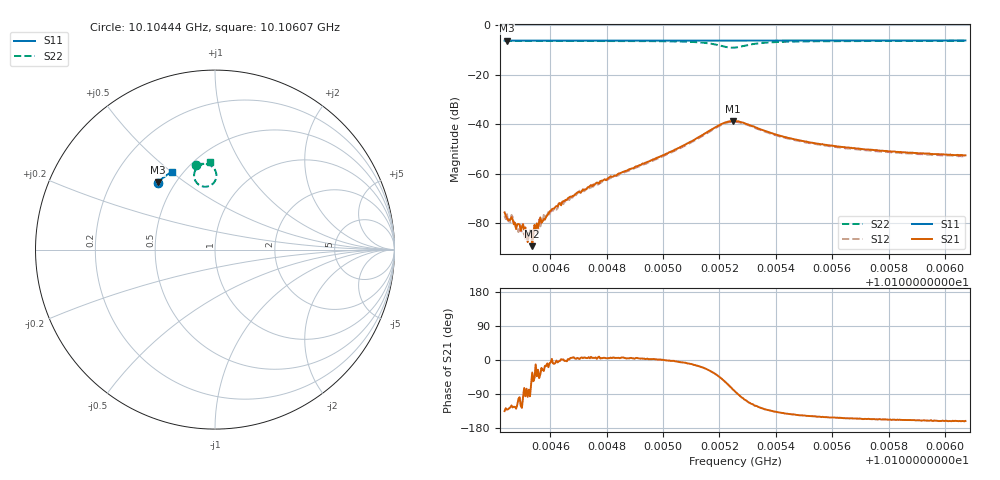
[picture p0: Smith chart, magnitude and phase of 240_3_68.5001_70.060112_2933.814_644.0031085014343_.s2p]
#  HZ  S  RI  R  50.00
! Rohde & Schwarz Vector Network Analyzer
! Rohde-Schwarz,ZNB20-2Port,1311601062101988,3.16
! Created: UTC 3/20/2024, 5:14:26 PM
! freq[Hz]  re:S11  im:S11  re:S21  im:S21  re:S12  im:S12  re:S22  im:S22
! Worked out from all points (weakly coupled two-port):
!   401 points, 10.10444 GHz to 10.10607 GHz, reference 50 ohm
!   highest |S21| = -38.69 dB at 10.10525 GHz (marker M1); lowest = -89.4 dB at 10.10454 GHz (marker M2)
!   lowest |S11| = -6.2 dB at 10.10445 GHz (marker M3), VSWR 2.94, Z = 20.1 + j19.9 ohm
!   |S11| at or under -10 dB: nowhere
!   |S22| runs from -9.0 to -6.3 dB; largest |S21 - S12| = 0.0013
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1.0104438e10  -0.3202 0.3736  -0.000115 -0.000116  -0.000102 -9.52e-05  -0.1076 0.4721
1.0104446e10  -0.3197 0.3739  -8.27e-05 -9.49e-05  -8.84e-05 -0.000132  -0.1069 0.4722
1.010447e10  -0.3187 0.3749  -5.13e-05 -7.83e-05  -2.23e-05 -0.000109  -0.1049 0.4726
1.0104478e10  -0.3183 0.3753  -4.65e-05 -5.91e-05  -4.3e-05 -6.55e-05  -0.1044 0.4728
1.0104536e10  -0.3158 0.3776  2.83e-05 -1.85e-05  5.72e-05 -4.72e-05  -0.0996 0.4739
1.0104564e10  -0.3145 0.3787  0.000103 -7.86e-05  8.4e-05 -1.4e-05  -0.0974 0.4744
1.0104577e10  -0.3139 0.3792  0.000105 -5.77e-05  0.000144 -2.13e-05  -0.0965 0.4747
1.0104601e10  -0.3128 0.3802  0.000176 -1.99e-05  0.00017 7.16e-06  -0.0942 0.475
1.0104626e10  -0.3116 0.3812  0.000214 -2.34e-05  0.000197 -1.09e-05  -0.0922 0.4753
1.0104711e10  -0.3077 0.3848  0.000437 5.24e-05  0.000421 8.39e-05  -0.0842 0.4768
1.0104785e10  -0.3042 0.3877  0.000708 6.16e-05  0.00067 0.000119  -0.0765 0.4777
1.0104985e10  -0.2948 0.3955  0.00215 4.14e-05  0.00209 0.000243  -0.0479 0.4767
1.0105088e10  -0.2898 0.3992  0.00406 -0.000657  0.00389 -0.000251  -0.022 0.4664
1.0105186e10  -0.2848 0.4027  0.00692 -0.00518  0.00711 -0.00427  0.00783 0.4109
1.0105218e10  -0.2832 0.4036  0.00594 -0.0089  0.00658 -0.00791  -0.00778 0.3711
1.0105247e10  -0.2821 0.4045  0.00254 -0.0113  0.00363 -0.0106  -0.0486 0.3506
1.0105255e10  -0.2818 0.4046  0.0014 -0.0114  0.00249 -0.0109  -0.0621 0.3507
1.0105325e10  -0.2789 0.4075  -0.00447 -0.00761  -0.00356 -0.00769  -0.1163 0.4075
1.0105423e10  -0.2743 0.4113  -0.00433 -0.00365  -0.00386 -0.00389  -0.1016 0.4535
1.0105529e10  -0.269 0.4151  -0.00358 -0.00221  -0.00325 -0.00241  -0.0833 0.4691
1.0105803e10  -0.2551 0.4246  -0.00261 -0.00108  -0.0024 -0.00127  -0.0522 0.4811
1.0106073e10  -0.2414 0.4334  -0.0022 -0.000764  -0.00208 -0.000901  -0.03 0.4854
